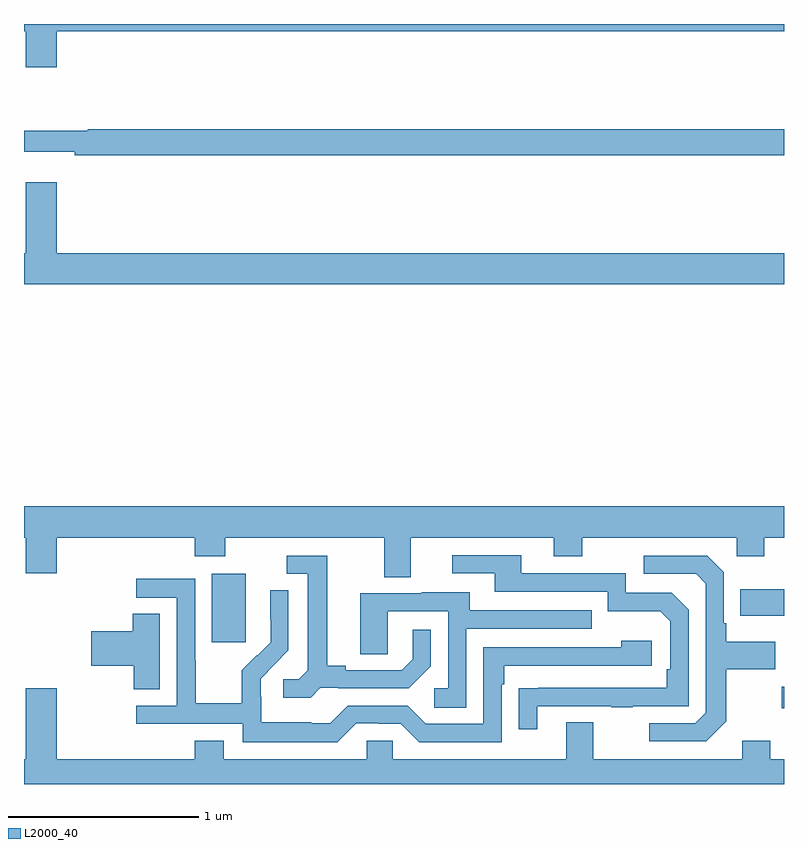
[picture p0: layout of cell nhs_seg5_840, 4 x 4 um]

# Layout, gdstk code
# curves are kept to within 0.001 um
import gdstk
lib = gdstk.Library(unit=1e-6, precision=1e-09)
def R(c, l, rs):  # rectangles x0, y0, x1, y1
    for r in rs: c.add(gdstk.rectangle(r[:2], r[2:], *l))
def P(c, l, *ps):  # polygons
    for p in ps: c.add(gdstk.Polygon(p, *l))
L2000_40 = (2000, 40)

nhs_seg5_840 = lib.new_cell('nhs_seg5_840')
R(nhs_seg5_840, L2000_40, [(168.987,853.197,169,853.31), (165.989,853.545,166.168,853.906), (168.769,853.685,169,853.825)])
P(nhs_seg5_840, L2000_40, [(165.172,856.76),(169,856.76),(169,856.799),(165,856.799),(165,856.76),(165.008,856.76),(165.008,856.572),(165.172,856.572)],
  [(169,856.244),(165.335,856.244),(165.335,856.237),(165,856.237),(165,856.127),(165.268,856.127),(165.268,856.108),(169,856.108)],
  [(169,855.592),(165.172,855.592),(165.172,855.967),(165.008,855.967),(165.008,855.592),(165,855.592),(165,855.428),(169,855.428)],
  [(167.035,854.096),(167.789,854.096),(167.789,853.997),(167.937,853.997),(167.937,854.096),(168.75,854.096),(168.75,853.997),(168.897,853.997),(168.897,854.096),(169,854.096),(169,854.26),(165,854.26),(165,854.096),(165.008,854.096),(165.008,853.908),(165.172,853.908),(165.172,854.096),(165.899,854.096),(165.899,853.997),(166.059,853.997),(166.059,854.096),(166.895,854.096),(166.895,853.888),(167.035,853.888)],
  [(167.701,853.209),(168.091,853.209),(168.091,853.204),(168.203,853.204),(168.203,853.209),(168.498,853.209),(168.498,853.716),(168.408,853.806),(168.168,853.806),(168.168,853.908),(167.617,853.908),(167.617,854.004),(167.253,854.004),(167.253,853.908),(167.477,853.908),(167.477,853.812),(168.072,853.812),(168.072,853.709),(168.349,853.709),(168.402,853.656),(168.402,853.402),(168.382,853.402),(168.382,853.305),(167.605,853.304),(167.605,853.086),(167.701,853.086)],
  [(166.56,853.305),(166.654,853.305),(166.654,853.302),(167.026,853.302),(167.142,853.418),(167.142,853.612),(167.045,853.612),(167.045,853.455),(166.988,853.398),(166.693,853.398),(166.693,853.421),(166.597,853.421),(166.597,854.001),(166.383,854.001),(166.383,853.905),(166.493,853.905),(166.493,853.397),(166.446,853.35),(166.365,853.35),(166.365,853.253),(166.508,853.253)],
  [(168.697,853.129),(168.697,853.402),(168.953,853.402),(168.953,853.549),(168.697,853.549),(168.697,853.645),(168.684,853.645),(168.684,853.914),(168.597,854.001),(168.261,854.001),(168.261,853.905),(168.537,853.905),(168.588,853.854),(168.588,853.173),(168.534,853.119),(168.291,853.119),(168.291,853.023),(168.591,853.023)],
  [(166.749,853.119),(166.865,853.119),(166.865,853.116),(166.983,853.116),(167.079,853.02),(167.514,853.02),(167.514,853.325),(167.527,853.325),(167.527,853.422),(168.304,853.422),(168.304,853.552),(168.143,853.552),(168.143,853.518),(167.418,853.518),(167.418,853.116),(167.115,853.116),(167.019,853.212),(166.704,853.212),(166.611,853.119),(166.511,853.119),(166.511,853.123),(166.248,853.123),(166.248,853.257),(166.246,853.257),(166.246,853.354),(166.392,853.502),(166.392,853.82),(166.296,853.82),(166.296,853.666),(166.298,853.666),(166.298,853.544),(166.227,853.473),(166.224,853.476),(166.147,853.399),(166.147,853.225),(165.903,853.225),(165.903,853.448),(165.9,853.448),(165.9,853.878),(165.591,853.878),(165.591,853.779),(165.804,853.779),(165.804,853.212),(165.591,853.212),(165.591,853.116),(166.152,853.116),(166.152,853.019),(166.649,853.019)],
  [(167.328,853.617),(167.987,853.617),(167.987,853.713),(167.347,853.713),(167.347,853.807),(167.093,853.807),(167.093,853.803),(166.769,853.803),(166.769,853.483),(166.914,853.483),(166.914,853.707),(167.232,853.707),(167.232,853.302),(167.16,853.302),(167.16,853.201),(167.328,853.201)],
  [(165.715,853.694),(165.572,853.694),(165.572,853.604),(165.354,853.604),(165.354,853.421),(165.577,853.421),(165.577,853.297),(165.715,853.297)],
  [(169,852.928),(168.927,852.928),(168.927,853.027),(168.779,853.027),(168.779,852.928),(167.995,852.928),(167.995,853.123),(167.855,853.123),(167.855,852.928),(166.941,852.928),(166.941,853.026),(166.803,853.026),(166.803,852.928),(166.051,852.928),(166.051,853.027),(165.899,853.027),(165.899,852.928),(165.172,852.928),(165.172,853.303),(165.008,853.303),(165.008,852.928),(165,852.928),(165,852.799),(169,852.799)])

lib.write_gds('nhs_seg5_840.gds')
